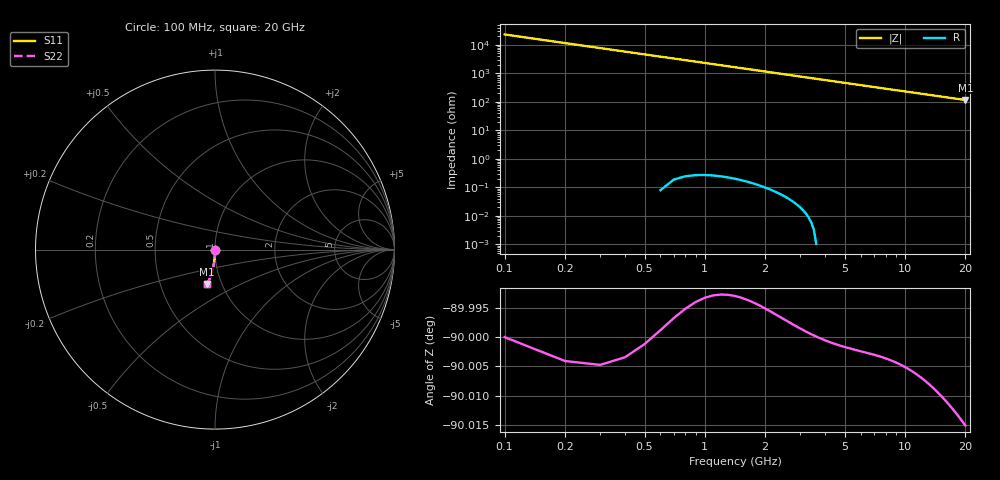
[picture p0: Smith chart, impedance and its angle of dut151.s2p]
! Touchstone file exported from HFSS 2026.1.0
!  File:  C:/ffzhzh/LocalFiles/Ansys_Project_Files/temp_train_TSV_151_1782990651_42984.aedt
!  Generated:  07:12:00 PM Jul  2, 2026
!  Design:  TSV
!  Project:  temp_train_TSV_151_1782990651_42984
! Variables:
!  h_bsmrdl = 2um
!  h_ox = 20um
!  h_rdl = 5um
!  h_sub = 71.92um
!  h_tmrdl = 5um
!  h_tsv = 71.92um
!  h_via = 3um
!  l_bsmrdl = 300um
!  l_sub = 427.84um
!  l_tmrdl = 200um
!  m_sub = 200um
!  pitch = 29.36um
!  r_tsv = 13.92um
!  s_tmrdl = 10um
!  w_bsmrdl = 18um
!  w_sub = 500um
!  w_tmrdl = 12um
!  x_tsv_center1 = 206um
!  x_tsv_center2 = 524um
!  x_tsv_center3 = 736um
!  x_tsv_center4 = 1054um
!  x_tsv_center5 = 1266um
!  x_tsv_center6 = 1584um
# GHz S MA R 50.000000
! Terminal data exported
! Port[1] = TSV1_1_T1
! Port[2] = TSV1_1_T2
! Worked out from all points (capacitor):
!   200 points, 100 MHz to 20 GHz, reference 50 ohm
!   read as one part in shunt: C = 69 fF near 200 MHz
!   lowest |Z| = 116 ohm at 20 GHz (marker M1)
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0.1  0.0009382 -84.3  0.9999 -0.1  0.9999 -0.1  0.0009382 -84.3
! Gamma 0 0 0 0
! Port Impedance 50 0 50 0
0.2  0.001878 -86.5  0.9999 -0.1  0.9999 -0.1  0.001878 -86.5
0.3  0.002831 -87.1  0.9998 -0.2  0.9998 -0.2  0.002831 -87.1
0.4  0.003797 -87.4  0.9998 -0.3  0.9998 -0.3  0.003797 -87.4
0.5  0.004774 -87.6  0.9998 -0.3  0.9998 -0.3  0.004774 -87.6
0.7  0.006749 -88.0  0.9997 -0.5  0.9997 -0.5  0.006749 -88.0
0.8  0.007743 -88.1  0.9996 -0.6  0.9996 -0.6  0.007743 -88.1
1  0.009735 -88.5  0.9996 -0.7  0.9996 -0.7  0.009735 -88.5
1.2  0.01173 -88.8  0.9995 -0.8  0.9995 -0.8  0.01173 -88.8
1.4  0.01372 -89.1  0.9995 -1.0  0.9995 -1.0  0.01372 -89.1
1.7  0.01672 -89.5  0.9994 -1.2  0.9994 -1.2  0.01672 -89.5
2  0.01971 -89.9  0.9993 -1.4  0.9993 -1.4  0.01971 -89.9
2.7  0.02668 -90.6  0.9991 -1.8  0.9991 -1.8  0.02668 -90.6
3.5  0.03465 -91.3  0.9987 -2.4  0.9987 -2.4  0.03465 -91.3
4.2  0.04163 -91.8  0.9984 -2.8  0.9984 -2.8  0.04163 -91.8
5  0.04961 -92.4  0.9979 -3.4  0.9979 -3.4  0.04961 -92.4
6.8  0.06755 -93.7  0.9967 -4.6  0.9967 -4.6  0.06755 -93.7
8.3  0.08246 -94.8  0.9955 -5.6  0.9955 -5.6  0.08246 -94.8
10.1  0.1003 -96.0  0.9937 -6.7  0.9937 -6.7  0.1003 -96.0
13.4  0.1327 -98.3  0.9897 -8.9  0.9897 -8.9  0.1327 -98.3
16.7  0.1646 -100.5  0.9847 -11.1  0.9847 -11.1  0.1646 -100.5
20  0.196 -102.7  0.9787 -13.2  0.9787 -13.2  0.196 -102.7
